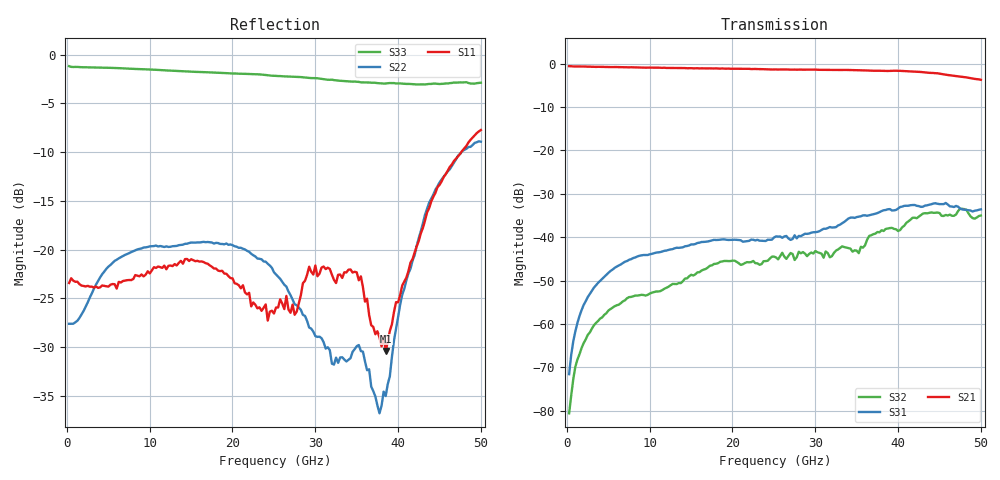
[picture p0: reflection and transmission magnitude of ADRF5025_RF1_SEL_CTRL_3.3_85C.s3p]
! Device:  ADRF5025
! Description: Silicon SPDT Switch, Reflective
! Frequency:  9kHz -  44.00 GHz
! Ports:
!  RFC = Port 1
!  RF1 = Port 2
!  RF2 = Port 3
! VDD  =  +3.30 Volts
! VSS  =  -3.30 Volts
! CTRL  =  +3.30 Volts
! Data:  Data was collected using an calibrated 4 port network analyzer
!  using G-S-G Probes on Probe Matrix Board.
!  The reference plane is the package pins of ADRF5025 switch.
! Notes: Analog Devices supplies this data as a sample of measured data
!  for this product.  Your particular data for this product may vary.
!  Data was taken at 85 degrees C.
!  Analog Devices reserves the right to change this data at anytime.
# GHz S  dB  R 50
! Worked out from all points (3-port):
!   200 points, 260 MHz to 50.01 GHz, reference 50 ohm
!   strongest paths, dB at 260 MHz, 12.76 GHz, 25.26 GHz, 37.76 GHz, 50.01 GHz:
!     S21: -0.6, -1.0, -1.3, -1.6, -3.7
!     S31: -71.6, -42.8, -39.8, -34.2, -33.6
!     S32: -80.6, -50.8, -44.7, -38.9, -35.0
!   lowest |S11| = -30.4 dB at 38.51 GHz (marker M1), VSWR 1.06, Z = 53.1 - j0.26 ohm
!   |S11| at or under -10 dB: start of sweep to 47.64 GHz
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0.26  -23.43 -2.1  -0.55 -2.6  -72.61 59.1
      -0.56 -2.7  -27.62 -9.8  -78.86 36.1
      -71.58 54.6  -80.61 17.5  -1.18 177.9
1.01  -23.31 -17.6  -0.61 -9.6  -61.55 74.4
      -0.64 -9.6  -27.46 -36.4  -70.10 64.8
      -61.74 73.4  -69.90 66.8  -1.25 172.5
2.76  -23.80 -50.1  -0.67 -25.8  -53.04 67.3
      -0.67 -25.7  -24.92 -82.4  -61.75 64.6
      -53.08 67.8  -61.97 63.9  -1.30 160.3
11.01  -21.74 -177.7  -0.91 -100.5  -43.53 12.8
       -0.90 -100.7  -19.68 -173.3  -52.59 12.4
       -43.50 12.5  -52.52 12.6  -1.56 100.4
18.76  -22.18 121.1  -1.08 -171.4  -40.49 -43.2
       -1.09 -171.4  -19.42 144.1  -45.54 -61.3
       -40.51 -43.4  -45.58 -61.2  -1.87 42.5
25.26  -25.95 128.7  -1.28 128.9  -39.79 -101.2
       -1.32 128.7  -22.56 100.1  -44.65 -159.5
       -39.81 -101.1  -44.67 -159.2  -2.17 -3.8
31.76  -21.99 113.1  -1.45 68.4  -37.60 -164.5
       -1.41 68.3  -30.33 92.3  -44.74 116.2
       -37.65 -164.4  -44.63 116.5  -2.58 -51.0
38.51  -30.41 -4.7  -1.62 3.1  -33.71 129.6
       -1.66 2.8  -35.03 -44.6  -38.23 74.3
       -33.73 130.1  -38.09 74.4  -2.96 -104.1
44.76  -13.60 -145.1  -2.21 -63.0  -32.29 69.7
       -2.20 -63.2  -13.51 -154.2  -34.33 12.4
       -32.29 69.5  -34.31 12.3  -2.98 -154.4
50.01  -7.73 156.4  -3.74 -117.1  -33.58 33.9
       -3.71 -117.7  -8.93 140.3  -34.84 -31.2
       -33.58 33.2  -35.01 -31.0  -2.88 169.4
